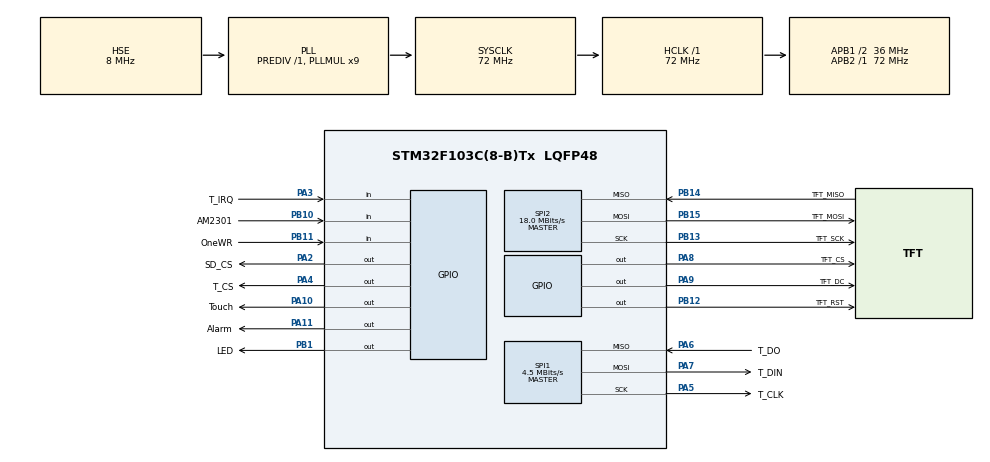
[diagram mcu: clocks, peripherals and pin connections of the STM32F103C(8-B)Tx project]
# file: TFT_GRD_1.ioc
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Mcu.Family=STM32F1
PA6.Mode=Full_Duplex_Master
SPI1.VirtualType=VM_MASTER
SPI2.VirtualType=VM_MASTER
TIM1.RepetitionCounter=0
PB14.GPIO_Label=TFT_MISO
PA3.GPIO_PuPd=GPIO_PULLUP
PA2.GPIO_Speed=GPIO_SPEED_FREQ_HIGH
VP_RTC_VS_RTC_Activate.Mode=RTC_Enabled
PA6.GPIO_Label=T_DO
NVIC.TIM1_UP_IRQn=true\:0\:0\:false\:false\:true\:true\:true
PB13.GPIO_Label=TFT_SCK
PB11.Signal=GPIO_Input
PB13.Signal=SPI2_SCK
PB15.Signal=SPI2_MOSI
RCC.SYSCLKSource=RCC_SYSCLKSOURCE_PLLCLK
ProjectManager.StackSize=0x400
PD1-OSC_OUT.Signal=RCC_OSC_OUT
NVIC.RTC_IRQn=true\:0\:0\:false\:false\:true\:true\:true
TIM1.Prescaler=719
SPI1.Direction=SPI_DIRECTION_2LINES
RCC.HCLKFreq_Value=72000000
RCC.APB2TimFreq_Value=72000000
PB12.PinState=GPIO_PIN_RESET
SPI1.CalculateBaudRate=4.5 MBits/s
RCC.AHBFreq_Value=72000000
SPI2.BaudRatePrescaler=SPI_BAUDRATEPRESCALER_2
RCC.RTCClockSelection=RCC_RTCCLKSOURCE_LSE
RCC.PLLMUL=RCC_PLL_MUL9
PA4.GPIO_Speed=GPIO_SPEED_FREQ_HIGH
PB12.GPIO_Label=TFT_RST
PA2.PinState=GPIO_PIN_SET
PC14-OSC32_IN.Mode=LSE-External-Oscillator
PA14.Mode=Serial_Wire
PB14.Mode=Full_Duplex_Master
PB1.GPIO_Label=LED
PA10.GPIO_Label=Touch
SPI2.CalculateBaudRate=18.0 MBits/s
PA8.Signal=GPIO_Output
VP_TIM1_VS_ClockSourceINT.Mode=Internal
PB1.PinState=GPIO_PIN_SET
Mcu.Package=LQFP48
PB1.Signal=GPIO_Output
PA6.Signal=SPI1_MISO
SPI2.Mode=SPI_MODE_MASTER
PA2.GPIO_Label=SD_CS
PA10.Signal=GPIO_Output
RCC.APB1TimFreq_Value=72000000
SPI2.Direction=SPI_DIRECTION_2LINES
TIM1.Period=999
PB13.Mode=Full_Duplex_Master
SPI1.BaudRatePrescaler=SPI_BAUDRATEPRESCALER_16
PA4.GPIO_Label=T_CS
PA8.GPIO_Speed=GPIO_SPEED_FREQ_HIGH
PA3.Signal=GPIO_Input
PA5.Mode=Full_Duplex_Master
RCC.PLLSourceVirtual=RCC_PLLSOURCE_HSE
PC15-OSC32_OUT.Mode=LSE-External-Oscillator
PA7.Mode=Full_Duplex_Master
PD1-OSC_OUT.Mode=HSE-External-Oscillator
PA9.GPIO_Label=TFT_DC
PB11.GPIO_Label=OneWR
PA11.GPIO_Label=Alarm
PD0-OSC_IN.Signal=RCC_OSC_IN
RCC.APB1CLKDivider=RCC_HCLK_DIV2
PC14-OSC32_IN.Signal=RCC_OSC32_IN
PA13.Signal=SYS_JTMS-SWDIO
PA8.GPIO_Label=TFT_CS
PA4.PinState=GPIO_PIN_SET
ProjectManager.TargetToolchain=MDK-ARM V5
PB10.GPIO_Label=AM2301
PA9.Signal=GPIO_Output
PA9.PinState=GPIO_PIN_RESET
RTC.Format=RTC_FORMAT_BCD
RCC.USBFreq_Value=72000000
PC15-OSC32_OUT.Signal=RCC_OSC32_OUT
PB12.GPIO_Speed=GPIO_SPEED_FREQ_HIGH
PD0-OSC_IN.Mode=HSE-External-Oscillator
PB10.Signal=GPIO_Input
PB14.Signal=SPI2_MISO
PA5.Signal=SPI1_SCK
board=custom
PB15.Mode=Full_Duplex_Master
RCC.APB2Freq_Value=72000000
PB15.GPIO_Label=TFT_MOSI
SPI1.Mode=SPI_MODE_MASTER
PA13.Mode=Serial_Wire
Mcu.Name=STM32F103C(8-B)Tx
PA2.Signal=GPIO_Output
PA4.Signal=GPIO_Output
RCC.SYSCLKFreq_VALUE=72000000
PA7.GPIO_Label=T_DIN
PA5.GPIO_Label=T_CLK
PA11.Signal=GPIO_Output
PA14.Signal=SYS_JTCK-SWCLK
ProjectManager.HeapSize=0x200
NVIC.PriorityGroup=NVIC_PRIORITYGROUP_4
PA9.GPIO_Speed=GPIO_SPEED_FREQ_HIGH
RCC.APB1Freq_Value=36000000
PA11.PinState=GPIO_PIN_SET
VP_CRC_VS_CRC.Mode=CRC_Activate
PB12.Signal=GPIO_Output
PA3.GPIO_Label=T_IRQ
PA7.Signal=SPI1_MOSI

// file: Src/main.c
/* USER CODE BEGIN Header */
/**
  ******************************************************************************
  * @file           : main.c
  * @brief          : Main program body
  ******************************************************************************
  * @attention
  *
  * <h2><center>&copy; Copyright (c) 2024 STMicroelectronics.
  * All rights reserved.</center></h2>
  *
  * This software component is licensed by ST under Ultimate Liberty license
  * SLA0044, the "License"; You may not use this file except in compliance with
  * the License. You may obtain a copy of the License at:
  *                             www.st.com/SLA0044
  *
  ******************************************************************************
  */
/* USER CODE END Header */

#include "main.h"

/* USER CODE BEGIN Includes */
#include <stdio.h>
#include <stdlib.h>
#include "tft_proc.h"
#include "ili9341_touch.h"
#include "ds18b20.h"
#include "displ.h"
#include "rtc.h"
#include "my.h"
#include "nvRam.h"
/* USER CODE END Includes */

CRC_HandleTypeDef hcrc;

RTC_HandleTypeDef hrtc;

SPI_HandleTypeDef hspi1;
SPI_HandleTypeDef hspi2;

TIM_HandleTypeDef htim1;

/* USER CODE BEGIN PV */
RTC_TimeTypeDef sTime;
RTC_DateTypeDef sDate;

char buffTFT[40];
const char* modeName[4]={"СУШЫННЯ","ОБЖАРКА","КОПЧЕННЯ","ВАРЫННЯ"};
const char* setName[MAX_SET]={"t КАМЕРИ","t ПРОДУКТА","t ВОЛОГОСТЫ","ТРИВАЛЫСТЬ","ПРОДУВАННЯ","ШВИДКЫСТЬ"};
int16_t set[MAX_SET], newval[MAX_SET];
uint8_t displ_num=0, mode, newButt=1, ticTimer, ticTouch, show, Y_txt, X_left, Y_top, Y_bottom=ILI9341_HEIGHT-22, buttonAmount, status=0;
uint8_t familycode[MAX_SENSOR][8];
int8_t ds18b20_amount, numSet=0, resetDispl=0;
int16_t ds18b20_val[MAX_SENSOR], pvT, pvRH;
uint16_t touch_x, touch_y, fillScreen = ILI9341_BLACK, checkTime;

int8_t relaySet[8]={-1,-1,-1,-1,-1,-1,-1,-1};
int8_t analogSet[2]={-1,-1};

uint8_t relOut[8]={0}, relayOut, analogOut[4]={0};
/* ********** */
/* USER CODE END PV */

void SystemClock_Config(void);
static void MX_GPIO_Init(void);
static void MX_SPI2_Init(void);
static void MX_SPI1_Init(void);
static void MX_TIM1_Init(void);
static void MX_RTC_Init(void);
static void MX_CRC_Init(void);

/* USER CODE BEGIN 0 */
//-------- Обратный вызов с истекшим периодом --------------
void HAL_TIM_PeriodElapsedCallback(TIM_HandleTypeDef *htim){
  if(htim->Instance == TIM1) //check if the interrupt comes from TIM1 (10 ms)
  {
    checkTime++;
    if(ticTouch){ --ticTouch; HAL_GPIO_WritePin(Touch_GPIO_Port, Touch_Pin, GPIO_PIN_SET);}// индикация нажатия
    else {HAL_GPIO_WritePin(Touch_GPIO_Port, Touch_Pin, GPIO_PIN_RESET);}
    if (ticTimer){ --ticTimer;
//      if(set[3]&1) HAL_GPIO_WritePin(Alarm_GPIO_Port, Alarm_Pin, GPIO_PIN_SET); // включить тревогу
    }
    else HAL_GPIO_WritePin(Alarm_GPIO_Port, Alarm_Pin, GPIO_PIN_RESET);
  }
}
/* USER CODE END 0 */

int main(void)
{

  /* MCU Configuration--------------------------------------------------------*/

  /* Reset of all peripherals, Initializes the Flash interface and the Systick. */
  HAL_Init();

  /* Configure the system clock */
  SystemClock_Config();

  /* Initialize all configured peripherals */
  MX_GPIO_Init();
  MX_SPI2_Init();
  MX_SPI1_Init();
  MX_TIM1_Init();
  MX_RTC_Init();
  MX_CRC_Init();
  /* USER CODE BEGIN 2 */
//  HAL_GPIO_WritePin(LED_GPIO_Port, LED_Pin, GPIO_PIN_SET);  // LED_PB1=ON

  HAL_TIM_Base_Start_IT(&htim1);          /* ------  таймер 100Гц.  период  10 мс.  ----*/
  HAL_RTCEx_SetSecond_IT(&hrtc);
  TFT_init();
  uint8_t err = initData();
  switch (err){
  	case 0: ILI9341_WriteString(5, Y_txt, "Ыныцыалызацыя успышна.", Font_11x18, ILI9341_GREEN, ILI9341_BLACK);	break;
  	case 1: ILI9341_WriteString(5, Y_txt, "Первинна ыныцыалызацыя.", Font_11x18, ILI9341_YELLOW, ILI9341_BLACK);	break;
    case 3: ILI9341_WriteString(5, Y_txt, "Помилки читання FLASH!", Font_11x18, ILI9341_YELLOW, ILI9341_RED);	break;
  	default:ILI9341_WriteString(5, Y_txt, "Невыдома помилка!", Font_11x18, ILI9341_MAGENTA, ILI9341_BLACK);	break;
  }
  Y_txt = Y_txt+18+5;

  if(err){
    sprintf(buffTFT,"Check sum: 0x%08X",dataRAM.config.checkSum);
    ILI9341_WriteString(5, Y_txt, buffTFT, Font_11x18, ILI9341_WHITE, ILI9341_BLACK);
    Y_txt = Y_txt+18+5;
    sprintf(buffTFT,"Number of saves: %u",dataRAM.config.countSave);
    ILI9341_WriteString(5, Y_txt, buffTFT, Font_11x18, ILI9341_WHITE, ILI9341_BLACK);
    Y_txt = Y_txt+18+5;
    HAL_Delay(3000);
  }
  //---------------------------- линия 1-Wire -----------------------------------
  ds18b20_port_init();
  ds18b20_count(MAX_SENSOR);   // проверяем наличие датчиков если item = 0 датчики найдены
  if(ds18b20_amount){
    for(uint8_t i=0;i<ds18b20_amount;i++) ds18b20_val[i]=1999;
    ds18b20_Convert_T();
  }
  sprintf(buffTFT,"Датчикыв температури: %d шт.",ds18b20_amount);
  ILI9341_WriteString(5, Y_txt, buffTFT, Font_11x18, ILI9341_CYAN, ILI9341_BLACK);
  Y_txt = Y_txt+18+5;
  //---------------------------- линия AM2301 -----------------------------------
  if(startDHT()){
    ILI9341_WriteString(5, Y_txt, "Выдносноъ вологосты    1 шт.", Font_11x18, ILI9341_CYAN, ILI9341_BLACK);
    Y_txt = Y_txt+18+5;
  }
  HAL_Delay(3000);
  ILI9341_FillScreen(fillScreen);
  /* USER CODE END 2 */

  /* Infinite loop */
  /* USER CODE BEGIN WHILE */
  while (1)
  {
    Y_txt = 5; X_left = 5;
    //-------------------------- ТАЧСКРИН ---------------------------------------
    if(ILI9341_TouchPressed()&& checkTime>40){
      uint8_t butt_num;
      if(ILI9341_TouchGetCoordinates(&touch_x, &touch_y)){
        for (butt_num=0; butt_num<buttonAmount; butt_num++){
            if(contains(touch_x, touch_y, butt_num)) break; // проверка попадания новой координаты в область кнопки
        }
      }
      checkButtons(butt_num);                           // проверка нажатой кнопки
      checkTime = 0; show = 1;
    }
    if (show){
//      HAL_GPIO_TogglePin(LED_GPIO_Port, LED_Pin);  // LED_PB1=Toggle
      show = 0;
      temperature_check();

      //------ Проверка на ручное управление ---------------------------------------
        for (uint8_t byte=0;byte<4;byte++){
            if(relaySet[byte]==1) {relOut[byte]=ON;  relayOut |= (1<<(byte));} // ручной On
            if(relaySet[byte]==0) {relOut[byte]=OFF; relayOut &= ~(1<<(byte));}// ручной Off
        }
        for (uint8_t byte=0;byte<2;byte++){
          if(analogSet[byte]>-1) analogOut[byte]=analogSet[byte];
        }
      display();
    }
    /* USER CODE END WHILE */

  }
}

void SystemClock_Config(void)
{
  RCC_OscInitTypeDef RCC_OscInitStruct = {0};
  RCC_ClkInitTypeDef RCC_ClkInitStruct = {0};
  RCC_PeriphCLKInitTypeDef PeriphClkInit = {0};

  /** Initializes the CPU, AHB and APB busses clocks
  */
  RCC_OscInitStruct.OscillatorType = RCC_OSCILLATORTYPE_HSE|RCC_OSCILLATORTYPE_LSE;
  RCC_OscInitStruct.HSEState = RCC_HSE_ON;
  RCC_OscInitStruct.HSEPredivValue = RCC_HSE_PREDIV_DIV1;
  RCC_OscInitStruct.LSEState = RCC_LSE_ON;
  RCC_OscInitStruct.HSIState = RCC_HSI_ON;
  RCC_OscInitStruct.PLL.PLLState = RCC_PLL_ON;
  RCC_OscInitStruct.PLL.PLLSource = RCC_PLLSOURCE_HSE;
  RCC_OscInitStruct.PLL.PLLMUL = RCC_PLL_MUL9;
  if (HAL_RCC_OscConfig(&RCC_OscInitStruct) != HAL_OK)
  {
    Error_Handler();
  }
  /** Initializes the CPU, AHB and APB busses clocks
  */
  RCC_ClkInitStruct.ClockType = RCC_CLOCKTYPE_HCLK|RCC_CLOCKTYPE_SYSCLK
                              |RCC_CLOCKTYPE_PCLK1|RCC_CLOCKTYPE_PCLK2;
  RCC_ClkInitStruct.SYSCLKSource = RCC_SYSCLKSOURCE_PLLCLK;
  RCC_ClkInitStruct.AHBCLKDivider = RCC_SYSCLK_DIV1;
  RCC_ClkInitStruct.APB1CLKDivider = RCC_HCLK_DIV2;
  RCC_ClkInitStruct.APB2CLKDivider = RCC_HCLK_DIV1;

  if (HAL_RCC_ClockConfig(&RCC_ClkInitStruct, FLASH_LATENCY_2) != HAL_OK)
  {
    Error_Handler();
  }
  PeriphClkInit.PeriphClockSelection = RCC_PERIPHCLK_RTC;
  PeriphClkInit.RTCClockSelection = RCC_RTCCLKSOURCE_LSE;
  if (HAL_RCCEx_PeriphCLKConfig(&PeriphClkInit) != HAL_OK)
  {
    Error_Handler();
  }
}

static void MX_CRC_Init(void)
{

  hcrc.Instance = CRC;
  if (HAL_CRC_Init(&hcrc) != HAL_OK)
  {
    Error_Handler();
  }

}

static void MX_RTC_Init(void)
{

  /** Initialize RTC Only
  */
  hrtc.Instance = RTC;
  hrtc.Init.AsynchPrediv = RTC_AUTO_1_SECOND;
  hrtc.Init.OutPut = RTC_OUTPUTSOURCE_ALARM;
  if (HAL_RTC_Init(&hrtc) != HAL_OK)
  {
    Error_Handler();
  }

}

static void MX_SPI1_Init(void)
{

  /* SPI1 parameter configuration*/
  hspi1.Instance = SPI1;
  hspi1.Init.Mode = SPI_MODE_MASTER;
  hspi1.Init.Direction = SPI_DIRECTION_2LINES;
  hspi1.Init.DataSize = SPI_DATASIZE_8BIT;
  hspi1.Init.CLKPolarity = SPI_POLARITY_LOW;
  hspi1.Init.CLKPhase = SPI_PHASE_1EDGE;
  hspi1.Init.NSS = SPI_NSS_SOFT;
  hspi1.Init.BaudRatePrescaler = SPI_BAUDRATEPRESCALER_16;
  hspi1.Init.FirstBit = SPI_FIRSTBIT_MSB;
  hspi1.Init.TIMode = SPI_TIMODE_DISABLE;
  hspi1.Init.CRCCalculation = SPI_CRCCALCULATION_DISABLE;
  hspi1.Init.CRCPolynomial = 10;
  if (HAL_SPI_Init(&hspi1) != HAL_OK)
  {
    Error_Handler();
  }

}

static void MX_SPI2_Init(void)
{

  /* SPI2 parameter configuration*/
  hspi2.Instance = SPI2;
  hspi2.Init.Mode = SPI_MODE_MASTER;
  hspi2.Init.Direction = SPI_DIRECTION_2LINES;
  hspi2.Init.DataSize = SPI_DATASIZE_8BIT;
  hspi2.Init.CLKPolarity = SPI_POLARITY_LOW;
  hspi2.Init.CLKPhase = SPI_PHASE_1EDGE;
  hspi2.Init.NSS = SPI_NSS_SOFT;
  hspi2.Init.BaudRatePrescaler = SPI_BAUDRATEPRESCALER_2;
  hspi2.Init.FirstBit = SPI_FIRSTBIT_MSB;
  hspi2.Init.TIMode = SPI_TIMODE_DISABLE;
  hspi2.Init.CRCCalculation = SPI_CRCCALCULATION_DISABLE;
  hspi2.Init.CRCPolynomial = 10;
  if (HAL_SPI_Init(&hspi2) != HAL_OK)
  {
    Error_Handler();
  }

}

static void MX_TIM1_Init(void)
{

  TIM_ClockConfigTypeDef sClockSourceConfig = {0};
  TIM_MasterConfigTypeDef sMasterConfig = {0};

  htim1.Instance = TIM1;
  htim1.Init.Prescaler = 719;
  htim1.Init.CounterMode = TIM_COUNTERMODE_UP;
  htim1.Init.Period = 999;
  htim1.Init.ClockDivision = TIM_CLOCKDIVISION_DIV1;
  htim1.Init.RepetitionCounter = 0;
  htim1.Init.AutoReloadPreload = TIM_AUTORELOAD_PRELOAD_DISABLE;
  if (HAL_TIM_Base_Init(&htim1) != HAL_OK)
  {
    Error_Handler();
  }
  sClockSourceConfig.ClockSource = TIM_CLOCKSOURCE_INTERNAL;
  if (HAL_TIM_ConfigClockSource(&htim1, &sClockSourceConfig) != HAL_OK)
  {
    Error_Handler();
  }
  sMasterConfig.MasterOutputTrigger = TIM_TRGO_RESET;
  sMasterConfig.MasterSlaveMode = TIM_MASTERSLAVEMODE_DISABLE;
  if (HAL_TIMEx_MasterConfigSynchronization(&htim1, &sMasterConfig) != HAL_OK)
  {
    Error_Handler();
  }

}

static void MX_GPIO_Init(void)
{
  GPIO_InitTypeDef GPIO_InitStruct = {0};

  /* GPIO Ports Clock Enable */
  __HAL_RCC_GPIOC_CLK_ENABLE();
  __HAL_RCC_GPIOD_CLK_ENABLE();
  __HAL_RCC_GPIOA_CLK_ENABLE();
  __HAL_RCC_GPIOB_CLK_ENABLE();

  /*Configure GPIO pin Output Level */
  HAL_GPIO_WritePin(GPIOA, SD_CS_Pin|T_CS_Pin|Alarm_Pin, GPIO_PIN_SET);

  /*Configure GPIO pin Output Level */
  HAL_GPIO_WritePin(LED_GPIO_Port, LED_Pin, GPIO_PIN_SET);

  /*Configure GPIO pin Output Level */
  HAL_GPIO_WritePin(TFT_RST_GPIO_Port, TFT_RST_Pin, GPIO_PIN_RESET);

  /*Configure GPIO pin Output Level */
  HAL_GPIO_WritePin(GPIOA, TFT_CS_Pin|TFT_DC_Pin|Touch_Pin, GPIO_PIN_RESET);

  /*Configure GPIO pins : SD_CS_Pin T_CS_Pin TFT_CS_Pin TFT_DC_Pin */
  GPIO_InitStruct.Pin = SD_CS_Pin|T_CS_Pin|TFT_CS_Pin|TFT_DC_Pin;
  GPIO_InitStruct.Mode = GPIO_MODE_OUTPUT_PP;
  GPIO_InitStruct.Pull = GPIO_NOPULL;
  GPIO_InitStruct.Speed = GPIO_SPEED_FREQ_HIGH;
  HAL_GPIO_Init(GPIOA, &GPIO_InitStruct);

  /*Configure GPIO pin : T_IRQ_Pin */
  GPIO_InitStruct.Pin = T_IRQ_Pin;
  GPIO_InitStruct.Mode = GPIO_MODE_INPUT;
  GPIO_InitStruct.Pull = GPIO_PULLUP;
  HAL_GPIO_Init(T_IRQ_GPIO_Port, &GPIO_InitStruct);

  /*Configure GPIO pin : LED_Pin */
  GPIO_InitStruct.Pin = LED_Pin;
  GPIO_InitStruct.Mode = GPIO_MODE_OUTPUT_PP;
  GPIO_InitStruct.Pull = GPIO_NOPULL;
  GPIO_InitStruct.Speed = GPIO_SPEED_FREQ_LOW;
  HAL_GPIO_Init(LED_GPIO_Port, &GPIO_InitStruct);

  /*Configure GPIO pins : AM2301_Pin OneWR_Pin */
  GPIO_InitStruct.Pin = AM2301_Pin|OneWR_Pin;
  GPIO_InitStruct.Mode = GPIO_MODE_INPUT;
  GPIO_InitStruct.Pull = GPIO_NOPULL;
  HAL_GPIO_Init(GPIOB, &GPIO_InitStruct);

  /*Configure GPIO pin : TFT_RST_Pin */
  GPIO_InitStruct.Pin = TFT_RST_Pin;
  GPIO_InitStruct.Mode = GPIO_MODE_OUTPUT_PP;
  GPIO_InitStruct.Pull = GPIO_NOPULL;
  GPIO_InitStruct.Speed = GPIO_SPEED_FREQ_HIGH;
  HAL_GPIO_Init(TFT_RST_GPIO_Port, &GPIO_InitStruct);

  /*Configure GPIO pins : Touch_Pin Alarm_Pin */
  GPIO_InitStruct.Pin = Touch_Pin|Alarm_Pin;
  GPIO_InitStruct.Mode = GPIO_MODE_OUTPUT_PP;
  GPIO_InitStruct.Pull = GPIO_NOPULL;
  GPIO_InitStruct.Speed = GPIO_SPEED_FREQ_LOW;
  HAL_GPIO_Init(GPIOA, &GPIO_InitStruct);

}

void Error_Handler(void)
{
}

/************************ (C) COPYRIGHT STMicroelectronics *****END OF FILE****/
